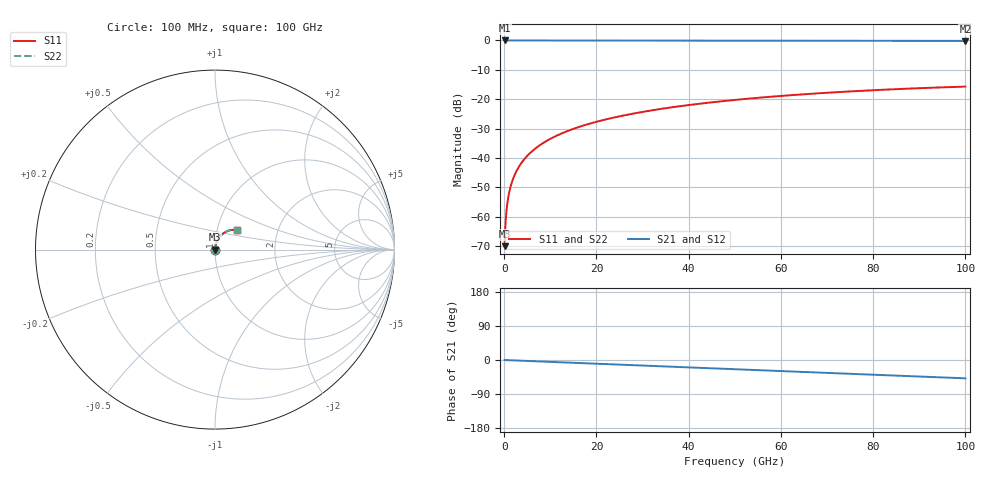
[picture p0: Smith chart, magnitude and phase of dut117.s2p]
! Touchstone file exported from HFSS 2026.1.0
!  File:  C:/ffzhzh/LocalFiles/Ansys_Project_Files/temp_train_TSV_117_1783506045_41296.aedt
!  Generated:  06:22:11 PM Jul  8, 2026
!  Design:  TSV
!  Project:  temp_train_TSV_117_1783506045_41296
! Variables:
!  h_bsmrdl = 2um
!  h_ox = 20um
!  h_rdl = 5um
!  h_sub = 95.96um
!  h_tmrdl = 5um
!  h_tsv = 95.96um
!  h_via = 3um
!  l_bsmrdl = 300um
!  l_sub = 417.04um
!  l_tmrdl = 200um
!  m_sub = 200um
!  pitch = 47.32um
!  r_tsv = 8.52um
!  s_tmrdl = 10um
!  w_bsmrdl = 18um
!  w_sub = 500um
!  w_tmrdl = 12um
!  x_tsv_center1 = 206um
!  x_tsv_center2 = 524um
!  x_tsv_center3 = 736um
!  x_tsv_center4 = 1054um
!  x_tsv_center5 = 1266um
!  x_tsv_center6 = 1584um
# GHz S MA R 50.000000
! Terminal data exported
! Port[1] = TSV1_1_T1
! Port[2] = TSV1_1_T2
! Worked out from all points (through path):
!   1000 points, 100 MHz to 100 GHz, reference 50 ohm
!   highest |S21| = 0.00 dB at 100 MHz (marker M1); lowest = -0.2 dB at 100 GHz (marker M2)
!   group delay of S21, straight-line fit = 1.34 ps
!   lowest |S11| = -70.0 dB at 100 MHz (marker M3), VSWR 1.00, Z = 50 + j0.0257 ohm
!   |S11| at or under -10 dB: start of sweep to end of sweep
!   |S22| runs from -70.0 to -15.7 dB; largest |S21 - S12| = 6.2e-15
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0.1  0.0003173 54.0  0.9998 -0.1  0.9998 -0.1  0.0003173 54.0
! Gamma 0 0 0 0
! Port Impedance 50 0 50 0
0.4  0.001027 76.2  0.9998 -0.2  0.9998 -0.2  0.001027 76.2
0.7  0.001718 79.3  0.9997 -0.4  0.9997 -0.4  0.001718 79.3
0.8  0.001943 79.9  0.9997 -0.4  0.9997 -0.4  0.001943 79.9
1  0.002387 80.7  0.9996 -0.5  0.9996 -0.5  0.002387 80.7
1.3  0.003046 81.5  0.9996 -0.7  0.9996 -0.7  0.003046 81.5
1.7  0.003915 82.2  0.9995 -0.9  0.9995 -0.9  0.003915 82.2
2.3  0.005205 82.7  0.9994 -1.2  0.9994 -1.2  0.005205 82.7
3  0.00669 83.0  0.9993 -1.5  0.9993 -1.5  0.00669 83.0
3.8  0.008371 83.2  0.9992 -1.9  0.9992 -1.9  0.008371 83.2
4.8  0.01046 83.2  0.9991 -2.4  0.9991 -2.4  0.01046 83.2
6  0.01295 83.1  0.999 -3.0  0.999 -3.0  0.01295 83.1
8.8  0.01873 82.3  0.9987 -4.3  0.9987 -4.3  0.01873 82.3
12.4  0.02609 81.0  0.9983 -6.1  0.9983 -6.1  0.02609 81.0
16.8  0.03497 79.2  0.9979 -8.3  0.9979 -8.3  0.03497 79.2
24.2  0.04966 76.0  0.9969 -11.9  0.9969 -11.9  0.04966 76.0
33.4  0.0674 71.9  0.9956 -16.3  0.9956 -16.3  0.0674 71.9
41.2  0.08185 68.2  0.9943 -20.1  0.9943 -20.1  0.08185 68.2
50.1  0.09755 64.1  0.9926 -24.4  0.9926 -24.4  0.09755 64.1
66.7  0.1242 56.3  0.9893 -32.4  0.9893 -32.4  0.1242 56.3
83.4  0.1467 48.4  0.9859 -40.5  0.9859 -40.5  0.1467 48.4
100  0.164 40.6  0.9828 -48.4  0.9828 -48.4  0.164 40.6
